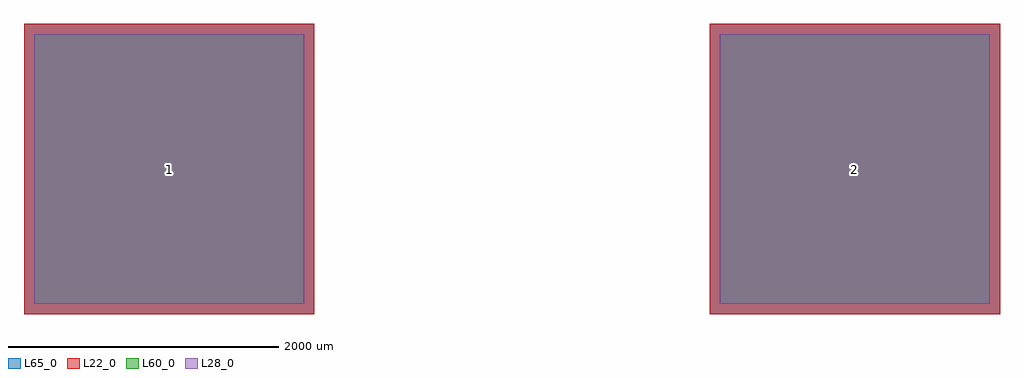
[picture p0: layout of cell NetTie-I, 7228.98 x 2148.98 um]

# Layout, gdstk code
import gdstk
lib = gdstk.Library(unit=1e-6, precision=1e-09)
def R(c, l, rs):  # rectangles x0, y0, x1, y1
    for r in rs: c.add(gdstk.rectangle(r[:2], r[2:], *l))
L22_0 = (22, 0)
L28_0 = (28, 0)
L60_0 = (60, 0)
L65_0 = (65, 0)

nettie_i = lib.new_cell('NetTie-I')
R(nettie_i, L22_0, [(-3614.49,-1074.49,-1465.51,1074.49), (1465.51,-1074.49,3614.49,1074.49)])
R(nettie_i, L28_0, [(-3539.49,-999.49,-1540.51,999.49), (1540.51,-999.49,3539.49,999.49)])
R(nettie_i, L60_0, [(-3539.49,-999.49,-1540.51,999.49), (1540.51,-999.49,3539.49,999.49)])
R(nettie_i, L65_0, [(-3614.49,-1074.49,-1465.51,1074.49), (1465.51,-1074.49,3614.49,1074.49)])
nettie_i.add(gdstk.Label('2', (2540,0), layer=28, texttype=0))
nettie_i.add(gdstk.Label('1', (-2540,0), layer=28, texttype=0))
nettie_i.add(gdstk.Label('type', (0,3048), layer=9, texttype=0))
nettie_i.add(gdstk.Label('devicename', (-40.64,-4069.08), layer=9, texttype=0))

lib.write_gds('NetTie-I.gds')
